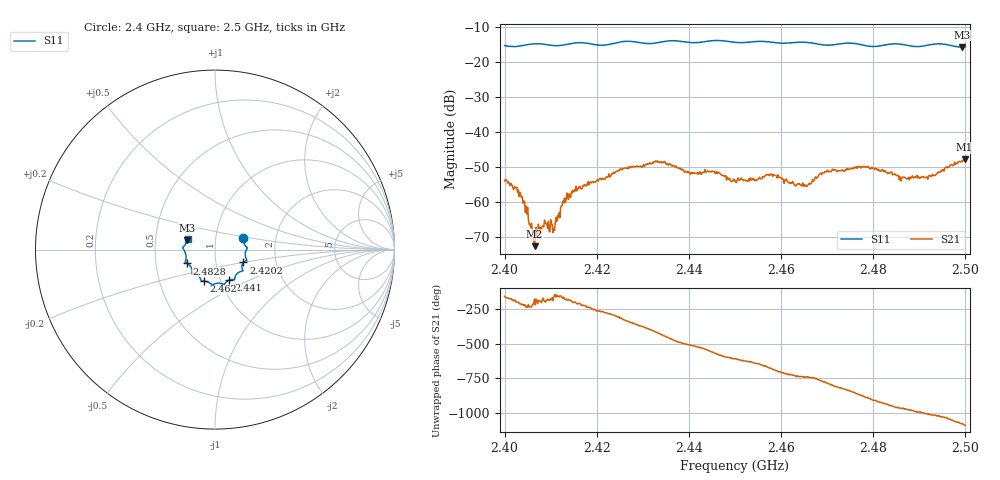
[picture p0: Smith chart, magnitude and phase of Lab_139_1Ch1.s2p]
# Hz S RI R 50
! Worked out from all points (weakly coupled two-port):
!   601 points, 2.4 GHz to 2.5 GHz, reference 50 ohm
!   highest |S21| = -47.83 dB at 2.4998 GHz (marker M1); lowest = -72.7 dB at 2.4065 GHz (marker M2)
!   lowest |S11| = -15.8 dB at 2.4993 GHz (marker M3), VSWR 1.39, Z = 36.5 + j3.85 ohm
!   |S11| at or under -10 dB: start of sweep to end of sweep
!   S12 and S22 are empty: the file has one direction only
!   S11 on the Smith chart (normalised r, x): 2.4 GHz: 1.36, +0.18; 2.4202 GHz: 1.36, -0.20; 2.441 GHz: 1.10, -0.39; 2.462 GHz: 0.84, -0.30; 2.4828 GHz: 0.72, -0.11; 2.5 GHz: 0.73, +0.09
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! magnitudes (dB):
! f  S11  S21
! 2.4 GHz  -15.4  -54.1
! 2.4038 GHz  -15.4  -58.6
! 2.4065 GHz  -14.9  -72.7
! 2.4087 GHz  -15.0  -65.2
! 2.4108 GHz  -15.4  -68.3
! 2.4132 GHz  -15.1  -60.3
! 2.4167 GHz  -14.5  -56.4
! 2.4202 GHz  -15.2  -53.7
! 2.4333 GHz  -14.5  -48.8
! 2.441 GHz  -14.6  -51.7
! 2.445 GHz  -14.0  -51.5
! 2.45 GHz  -14.4  -53.8
! 2.4575 GHz  -14.3  -52.6
! 2.462 GHz  -14.6  -54.6
! 2.4667 GHz  -14.6  -54.4
! 2.4715 GHz  -15.1  -50.8
! 2.4828 GHz  -15.1  -51.6
! 2.4833 GHz  -15.0  -51.7
! 2.4915 GHz  -15.4  -53.0
! 2.4993 GHz  -15.8  -48.2
! 2.4998 GHz  -15.7  -47.8
! 2.5 GHz  -15.7  -48.3
